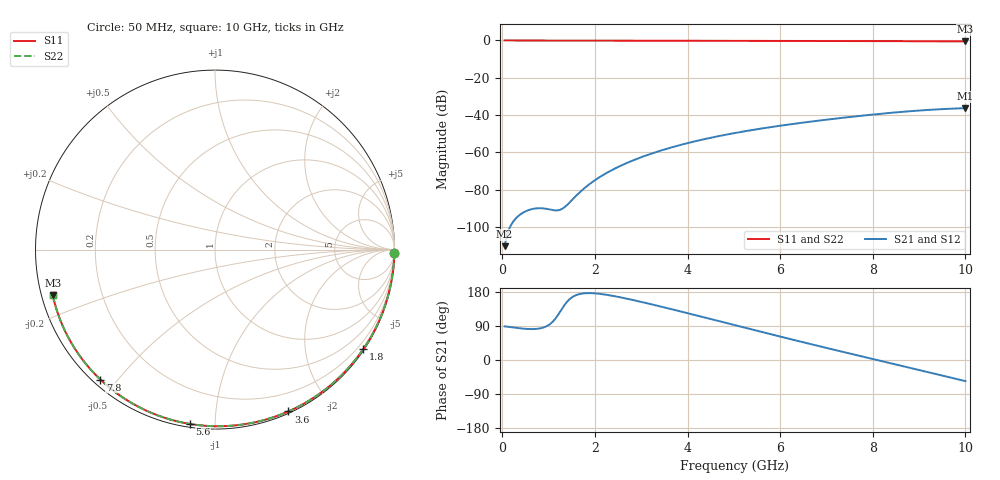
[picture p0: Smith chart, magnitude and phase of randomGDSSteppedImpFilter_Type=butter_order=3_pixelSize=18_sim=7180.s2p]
! freq	dB(S11)	phase(S11)	dB(S12)	phase(S12)
!  dB(S21)	phase(S21)	dB(S22)	phase(S22)
!S-par simulation data
#  GHz  S  DB  R 50
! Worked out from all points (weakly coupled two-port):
!   200 points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, 50 MHz to 10 GHz, reference 50 ohm
!   highest |S21| = -36.33 dB at 10 GHz (marker M1); lowest = -110.4 dB at 50 MHz (marker M2)
!   lowest |S11| = -0.5 dB at 10 GHz (marker M3), VSWR 31.75, Z = 1.6 - j6.92 ohm
!   |S11| at or under -10 dB: nowhere
!   |S22| runs from -0.5 to 0.0 dB; largest |S21 - S12| = 0
!   S11 on the Smith chart (normalised r, x): 50 MHz: open; 1.8 GHz: 0.03, -3.29; 3.6 GHz: 0.02, -1.55; 5.6 GHz: 0.02, -0.87; 7.8 GHz: 0.02, -0.45; 10 GHz: 0.03, -0.14
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0.05  -0.00 -1.0  -110.38 88.8  -110.38 88.8  -0.00 -1.0
0.45  -0.01 -8.6  -92.35 82.7  -92.35 82.7  -0.01 -8.6
0.9  -0.02 -17.1  -90.15 86.2  -90.15 86.2  -0.02 -17.1
1.7  -0.04 -31.9  -80.86 174.9  -80.86 174.9  -0.04 -31.9
1.75  -0.04 -32.9  -79.76 175.8  -79.76 175.8  -0.04 -32.9
1.8  -0.04 -33.8  -78.72 176.3  -78.72 176.3  -0.04 -33.8
1.95  -0.05 -36.5  -75.86 176.3  -75.86 176.3  -0.05 -36.5
2.1  -0.05 -39.2  -73.36 174.7  -73.36 174.7  -0.05 -39.2
2.45  -0.06 -45.6  -68.50 167.8  -68.50 167.8  -0.06 -45.6
2.9  -0.07 -53.5  -63.59 156.2  -63.59 156.2  -0.07 -53.5
3.4  -0.08 -62.2  -59.26 141.7  -59.26 141.7  -0.08 -62.2
3.6  -0.09 -65.6  -57.77 135.7  -57.77 135.7  -0.09 -65.6
4.3  -0.11 -77.4  -53.31 114.3  -53.31 114.3  -0.11 -77.4
5.05  -0.14 -89.5  -49.54 91.1  -49.54 91.1  -0.14 -89.5
5.6  -0.16 -98.2  -47.24 74.1  -47.24 74.1  -0.16 -98.2
6.15  -0.19 -106.7  -45.23 57.3  -45.23 57.3  -0.19 -106.7
6.7  -0.22 -115.0  -43.43 40.7  -43.43 40.7  -0.22 -115.0
7.25  -0.26 -123.3  -41.78 24.5  -41.78 24.5  -0.26 -123.3
7.8  -0.30 -131.4  -40.27 8.5  -40.27 8.5  -0.30 -131.4
8.35  -0.35 -139.5  -38.93 -7.5  -38.93 -7.5  -0.35 -139.5
9.2  -0.44 -152.1  -37.26 -32.2  -37.26 -32.2  -0.44 -152.1
10  -0.55 -164.2  -36.33 -55.7  -36.33 -55.7  -0.55 -164.2
